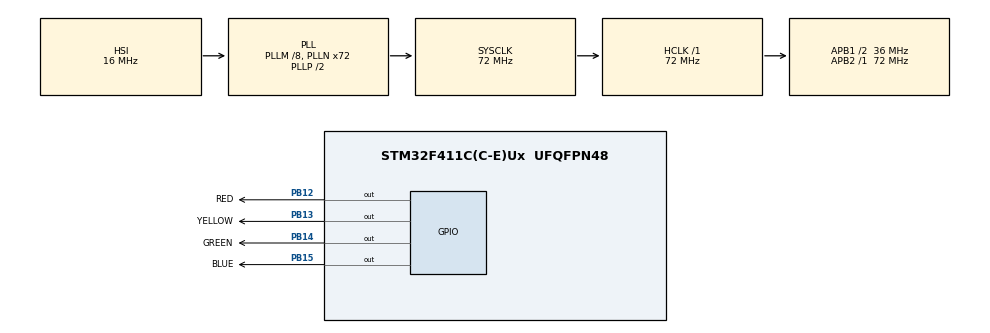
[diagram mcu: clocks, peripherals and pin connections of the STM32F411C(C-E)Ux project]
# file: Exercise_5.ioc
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FREERTOS.Tasks01=defaultTask,24,128,StartDefaultTask,Default,NULL,Dynamic,NULL,NULL;GREENLEDTASK,24,128,GREENLED,Default,NULL,Dynamic,NULL,NULL;REDLEDTASK,32,128,REDLED,Default,NULL,Dynamic,NULL,NULL
FREERTOS.configTICK_RATE_HZ=100
Mcu.Family=STM32F4
Mcu.Name=STM32F411C(C-E)Ux
Mcu.Package=UFQFPN48
NVIC.PriorityGroup=NVIC_PRIORITYGROUP_4
PB12.GPIO_Label=RED
PB12.Signal=GPIO_Output
PB13.GPIO_Label=YELLOW
PB13.Signal=GPIO_Output
PB14.GPIO_Label=GREEN
PB14.Signal=GPIO_Output
PB15.GPIO_Label=BLUE
PB15.Signal=GPIO_Output
ProjectManager.HeapSize=0x200
ProjectManager.StackSize=0x400
ProjectManager.TargetToolchain=STM32CubeIDE
RCC.48MHZClocksFreq_Value=36000000
RCC.AHBFreq_Value=72000000
RCC.APB1CLKDivider=RCC_HCLK_DIV2
RCC.APB1Freq_Value=36000000
RCC.APB1TimFreq_Value=72000000
RCC.APB2Freq_Value=72000000
RCC.APB2TimFreq_Value=72000000
RCC.CortexFreq_Value=72000000
RCC.HCLKFreq_Value=72000000
RCC.HSE_VALUE=25000000
RCC.HSI_VALUE=16000000
RCC.LSE_VALUE=32768
RCC.PLLM=8
RCC.PLLN=72
RCC.SYSCLKFreq_VALUE=72000000
RCC.SYSCLKSource=RCC_SYSCLKSOURCE_PLLCLK
RCC.VCOOutputFreq_Value=144000000
VP_FREERTOS_VS_CMSIS_V2.Mode=CMSIS_V2
board=custom

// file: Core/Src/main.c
/* USER CODE BEGIN Header */
/**
  ******************************************************************************
  * @file           : main.c
  * @brief          : Main program body
  ******************************************************************************
  * @attention
  *
  * Copyright (c) 2024 STMicroelectronics.
  * All rights reserved.
  *
  * This software is licensed under terms that can be found in the LICENSE file
  * in the root directory of this software component.
  * If no LICENSE file comes with this software, it is provided AS-IS.
  *
  ******************************************************************************
  */
/* USER CODE END Header */
#include "main.h"
#include "cmsis_os.h"

/* USER CODE BEGIN PD */
#define HIGH GPIO_PIN_RESET
#define LOW GPIO_PIN_SET
/* USER CODE END PD */

/* Definitions for defaultTask */
osThreadId_t defaultTaskHandle;
const osThreadAttr_t defaultTask_attributes = {
  .name = "defaultTask",
  .stack_size = 128 * 4,
  .priority = (osPriority_t) osPriorityNormal,
};
/* Definitions for GREENLEDTASK */
osThreadId_t GREENLEDTASKHandle;
const osThreadAttr_t GREENLEDTASK_attributes = {
  .name = "GREENLEDTASK",
  .stack_size = 128 * 4,
  .priority = (osPriority_t) osPriorityNormal,
};
/* Definitions for REDLEDTASK */
osThreadId_t REDLEDTASKHandle;
const osThreadAttr_t REDLEDTASK_attributes = {
  .name = "REDLEDTASK",
  .stack_size = 128 * 4,
  .priority = (osPriority_t) osPriorityAboveNormal,
};
/* USER CODE BEGIN PV */
uint8_t StartFlag;
volatile uint8_t RedFlag = 1;
volatile uint8_t GreenFlag = 1;
/* USER CODE END PV */

void SystemClock_Config(void);
static void MX_GPIO_Init(void);
void StartDefaultTask(void *argument);
void GREENLED(void *argument);
void REDLED(void *argument);

int main(void)
{

  /* USER CODE BEGIN 1 */
	StartFlag = 1;
  /* USER CODE END 1 */

  /* MCU Configuration--------------------------------------------------------*/

  /* Reset of all peripherals, Initializes the Flash interface and the Systick. */
  HAL_Init();

  /* Configure the system clock */
  SystemClock_Config();

  /* Initialize all configured peripherals */
  MX_GPIO_Init();

  /* Init scheduler */
  osKernelInitialize();

  /* Create the thread(s) */
  /* creation of defaultTask */
  defaultTaskHandle = osThreadNew(StartDefaultTask, NULL, &defaultTask_attributes);

  /* creation of GREENLEDTASK */
  GREENLEDTASKHandle = osThreadNew(GREENLED, NULL, &GREENLEDTASK_attributes);

  /* creation of REDLEDTASK */
  REDLEDTASKHandle = osThreadNew(REDLED, NULL, &REDLEDTASK_attributes);

  /* Start scheduler */
  osKernelStart();

  /* We should never get here as control is now taken by the scheduler */

  /* Infinite loop */
  while (1)
  {

  }
}

void SystemClock_Config(void)
{
  RCC_OscInitTypeDef RCC_OscInitStruct = {0};
  RCC_ClkInitTypeDef RCC_ClkInitStruct = {0};

  /** Configure the main internal regulator output voltage
  */
  __HAL_RCC_PWR_CLK_ENABLE();
  __HAL_PWR_VOLTAGESCALING_CONFIG(PWR_REGULATOR_VOLTAGE_SCALE1);

  /** Initializes the RCC Oscillators according to the specified parameters
  * in the RCC_OscInitTypeDef structure.
  */
  RCC_OscInitStruct.OscillatorType = RCC_OSCILLATORTYPE_HSI;
  RCC_OscInitStruct.HSIState = RCC_HSI_ON;
  RCC_OscInitStruct.HSICalibrationValue = RCC_HSICALIBRATION_DEFAULT;
  RCC_OscInitStruct.PLL.PLLState = RCC_PLL_ON;
  RCC_OscInitStruct.PLL.PLLSource = RCC_PLLSOURCE_HSI;
  RCC_OscInitStruct.PLL.PLLM = 8;
  RCC_OscInitStruct.PLL.PLLN = 72;
  RCC_OscInitStruct.PLL.PLLP = RCC_PLLP_DIV2;
  RCC_OscInitStruct.PLL.PLLQ = 4;
  if (HAL_RCC_OscConfig(&RCC_OscInitStruct) != HAL_OK)
  {
    Error_Handler();
  }

  /** Initializes the CPU, AHB and APB buses clocks
  */
  RCC_ClkInitStruct.ClockType = RCC_CLOCKTYPE_HCLK|RCC_CLOCKTYPE_SYSCLK
                              |RCC_CLOCKTYPE_PCLK1|RCC_CLOCKTYPE_PCLK2;
  RCC_ClkInitStruct.SYSCLKSource = RCC_SYSCLKSOURCE_PLLCLK;
  RCC_ClkInitStruct.AHBCLKDivider = RCC_SYSCLK_DIV1;
  RCC_ClkInitStruct.APB1CLKDivider = RCC_HCLK_DIV2;
  RCC_ClkInitStruct.APB2CLKDivider = RCC_HCLK_DIV1;

  if (HAL_RCC_ClockConfig(&RCC_ClkInitStruct, FLASH_LATENCY_2) != HAL_OK)
  {
    Error_Handler();
  }
}

static void MX_GPIO_Init(void)
{
  GPIO_InitTypeDef GPIO_InitStruct = {0};

  /* GPIO Ports Clock Enable */
  __HAL_RCC_GPIOB_CLK_ENABLE();

  /*Configure GPIO pin Output Level */
  HAL_GPIO_WritePin(GPIOB, RED_Pin|YELLOW_Pin|GREEN_Pin|BLUE_Pin, GPIO_PIN_RESET);

  /*Configure GPIO pins : RED_Pin YELLOW_Pin GREEN_Pin BLUE_Pin */
  GPIO_InitStruct.Pin = RED_Pin|YELLOW_Pin|GREEN_Pin|BLUE_Pin;
  GPIO_InitStruct.Mode = GPIO_MODE_OUTPUT_PP;
  GPIO_InitStruct.Pull = GPIO_NOPULL;
  GPIO_InitStruct.Speed = GPIO_SPEED_FREQ_LOW;
  HAL_GPIO_Init(GPIOB, &GPIO_InitStruct);

}

/* USER CODE BEGIN 4 */
void AccessSharedData(void) {
    if (StartFlag == 1) {
        // Set Start flag to Down to indicate resource is in use
        StartFlag = 0;
    } else {
        // Resource contention: Turn on Blue LED
        HAL_GPIO_WritePin(BLUE_GPIO_Port, BLUE_Pin, HIGH);
    }

    // Simulate read/write operations with a delay of 500 milliseconds
    HAL_Delay(500);

    // Set Start flag back to Up to indicate resource is free
    StartFlag = 1;

    // Turn off Blue LED (if it was turned on during contention)
    HAL_GPIO_WritePin(BLUE_GPIO_Port, BLUE_Pin, LOW);
}
/* USER CODE END 4 */

void StartDefaultTask(void *argument)
{
  for(;;)
  {
    osDelay(1);
  }
}

void GREENLED(void *argument)
{
  /* USER CODE BEGIN GREENLED */
  /* Infinite loop */
  for(;;)
  {
	  GreenFlag = 1;
	  	// Turn on Green LED
	  	HAL_GPIO_WritePin(GREEN_GPIO_Port, GREEN_Pin, HIGH);

	  	// Access shared data
	  	AccessSharedData();

	  	// Turn off Green LED
	  	HAL_GPIO_WritePin(GREEN_GPIO_Port, GREEN_Pin, LOW);

	  	GreenFlag = 0;
	  	// Delay for 500 milliseconds
	  	osDelay(500);
  }
  /* USER CODE END GREENLED */
}

void REDLED(void *argument)
{
  /* USER CODE BEGIN REDLED */
  /* Infinite loop */
  for(;;)
  {
	  RedFlag = 1;
	  	// Turn on Red LED
	  	HAL_GPIO_WritePin(RED_GPIO_Port, RED_Pin, HIGH);

	  	// Access shared data
	  	AccessSharedData();

	  	// Turn off Red LED
	  	HAL_GPIO_WritePin(RED_GPIO_Port, RED_Pin, LOW);

	  	RedFlag = 0;
	  	// Delay for 100 milliseconds
	  	osDelay(100);
  }
  /* USER CODE END REDLED */
}

void Error_Handler(void)
{
  __disable_irq();
  while (1)
  {
  }
}
